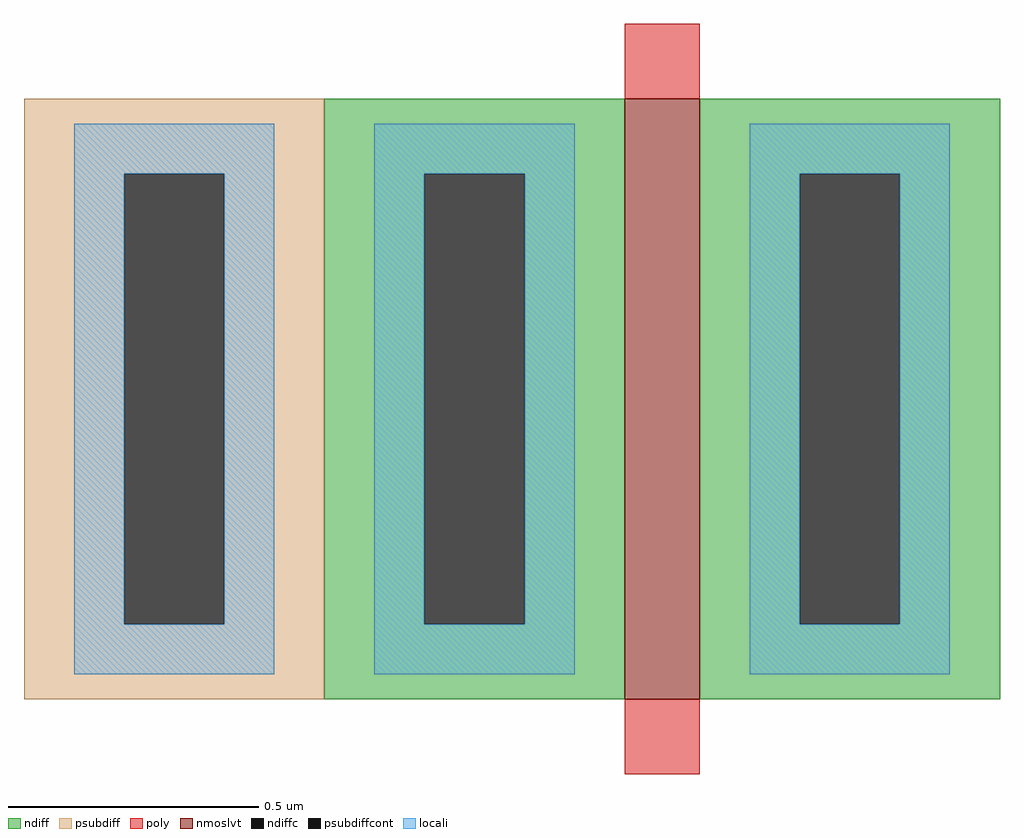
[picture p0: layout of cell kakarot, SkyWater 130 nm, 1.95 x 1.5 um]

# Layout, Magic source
magic
tech sky130A
<< nmoslvt >>
rect 0 0 15 120
<< ndiff >>
rect -60 105 0 120
rect -60 15 -40 105
rect -20 15 0 105
rect -60 0 0 15
rect 15 105 75 120
rect 15 15 35 105
rect 55 15 75 105
rect 15 0 75 15
<< ndiffc >>
rect -40 15 -20 105
rect 35 15 55 105
<< psubdiff >>
rect -120 105 -60 120
rect -120 15 -100 105
rect -80 15 -60 105
rect -120 0 -60 15
<< psubdiffcont >>
rect -100 15 -80 105
<< poly >>
rect 0 120 15 135
rect 0 -15 15 0
<< locali >>
rect -110 105 -70 115
rect -110 15 -100 105
rect -80 15 -70 105
rect -110 5 -70 15
rect -50 105 -10 115
rect -50 15 -40 105
rect -20 15 -10 105
rect -50 5 -10 15
rect 25 105 65 115
rect 25 15 35 105
rect 55 15 65 105
rect 25 5 65 15
<< end >>
